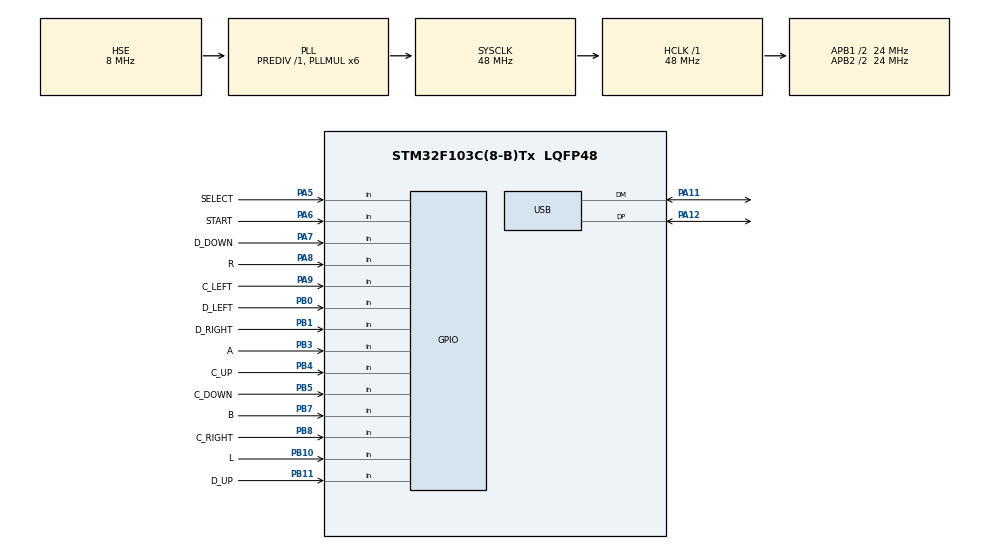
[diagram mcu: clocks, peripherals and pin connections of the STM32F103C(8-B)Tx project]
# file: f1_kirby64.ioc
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Mcu.Family=STM32F1
Mcu.Name=STM32F103C(8-B)Tx
Mcu.Package=LQFP48
NVIC.PriorityGroup=NVIC_PRIORITYGROUP_4
NVIC.USB_LP_CAN1_RX0_IRQn=true\:0\:0\:false\:false\:true\:false\:true
PA11.Mode=Device
PA11.Signal=USB_DM
PA12.Mode=Device
PA12.Signal=USB_DP
PA5.GPIO_Label=SELECT
PA5.GPIO_PuPd=GPIO_PULLUP
PA5.Signal=GPIO_Input
PA6.GPIO_Label=START
PA6.GPIO_PuPd=GPIO_PULLUP
PA6.Signal=GPIO_Input
PA7.GPIO_Label=D_DOWN
PA7.GPIO_PuPd=GPIO_PULLUP
PA7.Signal=GPIO_Input
PA8.GPIO_Label=R
PA8.GPIO_PuPd=GPIO_PULLUP
PA8.Signal=GPIO_Input
PA9.GPIO_Label=C_LEFT
PA9.GPIO_PuPd=GPIO_PULLUP
PA9.Signal=GPIO_Input
PB0.GPIO_Label=D_LEFT
PB0.GPIO_PuPd=GPIO_PULLUP
PB0.Signal=GPIO_Input
PB1.GPIO_Label=D_RIGHT
PB1.GPIO_PuPd=GPIO_PULLUP
PB1.Signal=GPIO_Input
PB10.GPIO_Label=L
PB10.GPIO_PuPd=GPIO_PULLUP
PB10.Signal=GPIO_Input
PB11.GPIO_Label=D_UP
PB11.GPIO_PuPd=GPIO_PULLUP
PB11.Signal=GPIO_Input
PB3.GPIO_Label=A
PB3.GPIO_PuPd=GPIO_PULLUP
PB3.Signal=GPIO_Input
PB4.GPIO_Label=C_UP
PB4.GPIO_PuPd=GPIO_PULLUP
PB4.Signal=GPIO_Input
PB5.GPIO_Label=C_DOWN
PB5.GPIO_PuPd=GPIO_PULLUP
PB5.Signal=GPIO_Input
PB7.GPIO_Label=B
PB7.GPIO_PuPd=GPIO_PULLUP
PB7.Signal=GPIO_Input
PB8.GPIO_Label=C_RIGHT
PB8.GPIO_PuPd=GPIO_PULLUP
PB8.Signal=GPIO_Input
PC14-OSC32_IN.Mode=LSE-External-Oscillator
PC14-OSC32_IN.Signal=RCC_OSC32_IN
PC15-OSC32_OUT.Mode=LSE-External-Oscillator
PC15-OSC32_OUT.Signal=RCC_OSC32_OUT
PD0-OSC_IN.Mode=HSE-External-Oscillator
PD0-OSC_IN.Signal=RCC_OSC_IN
PD1-OSC_OUT.Mode=HSE-External-Oscillator
PD1-OSC_OUT.Signal=RCC_OSC_OUT
ProjectManager.HeapSize=0x200
ProjectManager.StackSize=0x400
ProjectManager.TargetToolchain=SW4STM32
RCC.AHBFreq_Value=48000000
RCC.APB1CLKDivider=RCC_HCLK_DIV2
RCC.APB1Freq_Value=24000000
RCC.APB1TimFreq_Value=48000000
RCC.APB2CLKDivider=RCC_HCLK_DIV2
RCC.APB2Freq_Value=24000000
RCC.APB2TimFreq_Value=48000000
RCC.HCLKFreq_Value=48000000
RCC.PLLMUL=RCC_PLL_MUL6
RCC.SYSCLKFreq_VALUE=48000000
RCC.SYSCLKSource=RCC_SYSCLKSOURCE_PLLCLK
RCC.USBFreq_Value=48000000
USB_DEVICE.CLASS_NAME_FS=CUSTOM_HID
USB_DEVICE.USBD_CUSTOMHID_OUTREPORT_BUF_SIZE=16
USB_DEVICE.USBD_CUSTOM_HID_REPORT_DESC_SIZE=50
USB_DEVICE.VirtualMode=CustomHid
USB_DEVICE.VirtualModeFS=Custom_Hid_FS
VP_SYS_VS_ND.Mode=No_Debug
VP_USB_DEVICE_VS_USB_DEVICE_CUSTOM_HID_FS.Mode=CUSTOM_HID_FS
board=custom

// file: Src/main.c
/* USER CODE BEGIN Header */
/**
  ******************************************************************************
  * @file           : main.c
  * @brief          : Main program body
  ******************************************************************************
  * @attention
  *
  * <h2><center>&copy; Copyright (c) 2019 STMicroelectronics.
  * All rights reserved.</center></h2>
  *
  * This software component is licensed by ST under BSD 3-Clause license,
  * the "License"; You may not use this file except in compliance with the
  * License. You may obtain a copy of the License at:
  *                        opensource.org/licenses/BSD-3-Clause
  *
  ******************************************************************************
  */
/* USER CODE END Header */

#include "main.h"
#include "usb_device.h"

/* USER CODE BEGIN Includes */
#include "usbd_customhid.h"
#include "stdbool.h"

/* USER CODE END Includes */

/* USER CODE BEGIN PV */
extern USBD_HandleTypeDef hUsbDeviceFS;

/* USER CODE END PV */

void SystemClock_Config(void);
static void MX_GPIO_Init(void);

/* USER CODE BEGIN 0 */

void send_GP_Report(){
	uint8_t report[4] = {0,0,0,0};
	report[0] |= !(bool)(B_GPIO_Port->IDR & B_Pin) << 0;
	report[0] |= !(bool)(A_GPIO_Port->IDR & A_Pin) << 1;
	report[0] |= !(bool)(C_LEFT_GPIO_Port->IDR & C_LEFT_Pin) << 2;
	report[0] |= !(bool)(C_DOWN_GPIO_Port->IDR & C_DOWN_Pin) << 3;
	report[0] |= !(bool)(C_RIGHT_GPIO_Port->IDR & C_RIGHT_Pin) << 4;
	report[0] |= !(bool)(C_UP_GPIO_Port->IDR & C_UP_Pin) << 5;
	report[0] |= !(bool)(L_GPIO_Port->IDR & L_Pin) << 6;
	report[0] |= !(bool)(R_GPIO_Port->IDR & R_Pin) << 7;
	report[1] |= !(bool)(START_GPIO_Port->IDR & START_Pin) << 0;
	report[1] |= !(bool)(SELECT_GPIO_Port->IDR & SELECT_Pin) << 1;
	bool d_up = !(D_UP_GPIO_Port->IDR & D_UP_Pin);
	bool d_down = !(D_DOWN_GPIO_Port->IDR & D_DOWN_Pin);
	bool d_right = !(D_RIGHT_GPIO_Port->IDR & D_RIGHT_Pin);
	bool d_left = !(D_LEFT_GPIO_Port->IDR & D_LEFT_Pin);
	report[1] |= (d_right | d_left) << 2;
	report[1] |= d_left << 3;
	report[1] |= (d_up | d_down) <<4;
	report[1] |= d_up <<5;
	USBD_CUSTOM_HID_SendReport(&hUsbDeviceFS,report,2);
}

/* USER CODE END 0 */

int main(void)
{

  /* MCU Configuration--------------------------------------------------------*/

  /* Reset of all peripherals, Initializes the Flash interface and the Systick. */
  HAL_Init();

  /* Configure the system clock */
  SystemClock_Config();

  /* Initialize all configured peripherals */
  MX_GPIO_Init();
  MX_USB_DEVICE_Init();

  /* Infinite loop */
  /* USER CODE BEGIN WHILE */
  while (1)
  {
	 send_GP_Report();
	 HAL_Delay(2);
	 //while(USBD_Get_USB_Status() != USBD_OK);
//	 HAL_Delay(2);
//	 USBD_
    /* USER CODE END WHILE */

  }
}

void SystemClock_Config(void)
{
  RCC_OscInitTypeDef RCC_OscInitStruct = {0};
  RCC_ClkInitTypeDef RCC_ClkInitStruct = {0};
  RCC_PeriphCLKInitTypeDef PeriphClkInit = {0};

  /** Initializes the CPU, AHB and APB busses clocks
  */
  RCC_OscInitStruct.OscillatorType = RCC_OSCILLATORTYPE_HSE;
  RCC_OscInitStruct.HSEState = RCC_HSE_ON;
  RCC_OscInitStruct.HSEPredivValue = RCC_HSE_PREDIV_DIV1;
  RCC_OscInitStruct.HSIState = RCC_HSI_ON;
  RCC_OscInitStruct.PLL.PLLState = RCC_PLL_ON;
  RCC_OscInitStruct.PLL.PLLSource = RCC_PLLSOURCE_HSE;
  RCC_OscInitStruct.PLL.PLLMUL = RCC_PLL_MUL6;
  if (HAL_RCC_OscConfig(&RCC_OscInitStruct) != HAL_OK)
  {
    Error_Handler();
  }
  /** Initializes the CPU, AHB and APB busses clocks
  */
  RCC_ClkInitStruct.ClockType = RCC_CLOCKTYPE_HCLK|RCC_CLOCKTYPE_SYSCLK
                              |RCC_CLOCKTYPE_PCLK1|RCC_CLOCKTYPE_PCLK2;
  RCC_ClkInitStruct.SYSCLKSource = RCC_SYSCLKSOURCE_PLLCLK;
  RCC_ClkInitStruct.AHBCLKDivider = RCC_SYSCLK_DIV1;
  RCC_ClkInitStruct.APB1CLKDivider = RCC_HCLK_DIV2;
  RCC_ClkInitStruct.APB2CLKDivider = RCC_HCLK_DIV2;

  if (HAL_RCC_ClockConfig(&RCC_ClkInitStruct, FLASH_LATENCY_1) != HAL_OK)
  {
    Error_Handler();
  }
  PeriphClkInit.PeriphClockSelection = RCC_PERIPHCLK_USB;
  PeriphClkInit.UsbClockSelection = RCC_USBCLKSOURCE_PLL;
  if (HAL_RCCEx_PeriphCLKConfig(&PeriphClkInit) != HAL_OK)
  {
    Error_Handler();
  }
}

static void MX_GPIO_Init(void)
{
  GPIO_InitTypeDef GPIO_InitStruct = {0};

  /* GPIO Ports Clock Enable */
  __HAL_RCC_GPIOC_CLK_ENABLE();
  __HAL_RCC_GPIOD_CLK_ENABLE();
  __HAL_RCC_GPIOA_CLK_ENABLE();
  __HAL_RCC_GPIOB_CLK_ENABLE();

  /*Configure GPIO pins : SELECT_Pin START_Pin D_DOWN_Pin R_Pin
                           C_LEFT_Pin */
  GPIO_InitStruct.Pin = SELECT_Pin|START_Pin|D_DOWN_Pin|R_Pin
                          |C_LEFT_Pin;
  GPIO_InitStruct.Mode = GPIO_MODE_INPUT;
  GPIO_InitStruct.Pull = GPIO_PULLUP;
  HAL_GPIO_Init(GPIOA, &GPIO_InitStruct);

  /*Configure GPIO pins : D_LEFT_Pin D_RIGHT_Pin L_Pin D_UP_Pin
                           A_Pin C_UP_Pin C_DOWN_Pin B_Pin
                           C_RIGHT_Pin */
  GPIO_InitStruct.Pin = D_LEFT_Pin|D_RIGHT_Pin|L_Pin|D_UP_Pin
                          |A_Pin|C_UP_Pin|C_DOWN_Pin|B_Pin
                          |C_RIGHT_Pin;
  GPIO_InitStruct.Mode = GPIO_MODE_INPUT;
  GPIO_InitStruct.Pull = GPIO_PULLUP;
  HAL_GPIO_Init(GPIOB, &GPIO_InitStruct);

}

void Error_Handler(void)
{
}

/************************ (C) COPYRIGHT STMicroelectronics *****END OF FILE****/
